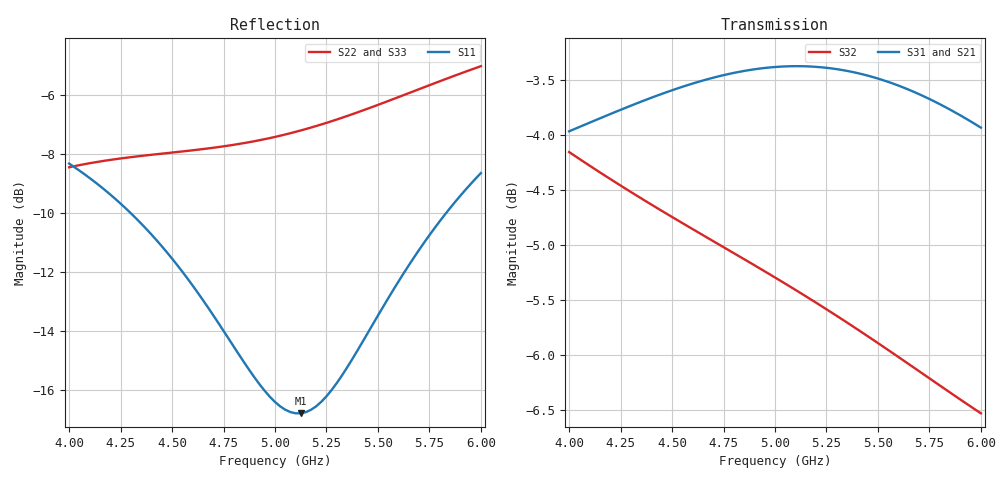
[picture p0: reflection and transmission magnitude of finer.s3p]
! yapnr rf: divider-osh-m-sched, footprint re-simulated (refine 3)
! spec sha256 bbfd3c2c71fb105c389fb3dd58c947bd2e93bc113f0c1115e98ed0f9a4913da3
! 3 ports renormalized to 50 ohm, e^(+jwt) convention
# GHz S RI R 50
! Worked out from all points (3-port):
!   81 points, 4 GHz to 6 GHz, reference 50 ohm
!   strongest paths, dB at 4 GHz, 4.5 GHz, 5 GHz, 5.5 GHz, 6 GHz:
!     S31: -4.0, -3.6, -3.4, -3.5, -3.9
!     S21: -4.0, -3.6, -3.4, -3.5, -3.9
!     S32: -4.2, -4.7, -5.3, -5.9, -6.5
!   lowest |S11| = -16.8 dB at 5.125 GHz (marker M1), VSWR 1.34, Z = 37.6 - j2.51 ohm
!   |S11| at or under -10 dB: 4.3 GHz to 5.83 GHz (1.53 GHz wide, 30.2 % of centre)
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4  -0.3495 0.1588  -0.3407 -0.5342  -0.3407 -0.5342
   -0.3405 -0.5337  -0.105 -0.3635  -0.193 0.5887
   -0.3405 -0.5337  -0.193 0.5887  -0.105 -0.3635
4.225  -0.2989 0.1498  -0.4165 -0.4946  -0.4165 -0.4946
       -0.4163 -0.4941  -0.1629 -0.3549  -0.0481 0.5983
       -0.4163 -0.4941  -0.0481 0.5983  -0.1629 -0.3549
4.475  -0.2423 0.1228  -0.498 -0.4335  -0.498 -0.4335
       -0.4976 -0.433  -0.2113 -0.3395  0.1035 0.5714
       -0.4976 -0.433  0.1035 0.5714  -0.2113 -0.3395
4.725  -0.1915 0.0764  -0.5708 -0.3532  -0.5708 -0.3532
       -0.5702 -0.3528  -0.2472 -0.3264  0.2378 0.5099
       -0.5702 -0.3528  0.2378 0.5099  -0.2472 -0.3264
5  -0.1514 0.00502  -0.6324 -0.2442  -0.6324 -0.2442
   -0.6317 -0.2438  -0.2813 -0.3199  0.3573 0.4094
   -0.6317 -0.2438  0.3573 0.4094  -0.2813 -0.3199
5.125  -0.1412 -0.0327  -0.6517 -0.1891  -0.6517 -0.1891
       -0.6509 -0.1887  -0.2977 -0.3196  0.3997 0.355
       -0.6509 -0.1887  0.3997 0.355  -0.2977 -0.3196
5.275  -0.1368 -0.0805  -0.6663 -0.1201  -0.6663 -0.1201
       -0.6654 -0.1198  -0.3199 -0.3205  0.4396 0.2848
       -0.6654 -0.1198  0.4396 0.2848  -0.3199 -0.3205
5.55  -0.1522 -0.1685  -0.6676 0.0081  -0.6676 0.0081
      -0.6666 0.0082  -0.3702 -0.321  0.4809 0.1497
      -0.6666 0.0082  0.4809 0.1497  -0.3702 -0.321
5.775  -0.1859 -0.2334  -0.6452 0.1074  -0.6452 0.1074
       -0.6443 0.1074  -0.4207 -0.3142  0.4855 0.0409
       -0.6443 0.1074  0.4855 0.0409  -0.4207 -0.3142
6  -0.2344 -0.2862  -0.6057 0.1958  -0.6057 0.1958
   -0.6047 0.1956  -0.477 -0.2958  0.4676 -0.0597
   -0.6047 0.1956  0.4676 -0.0597  -0.477 -0.2958
